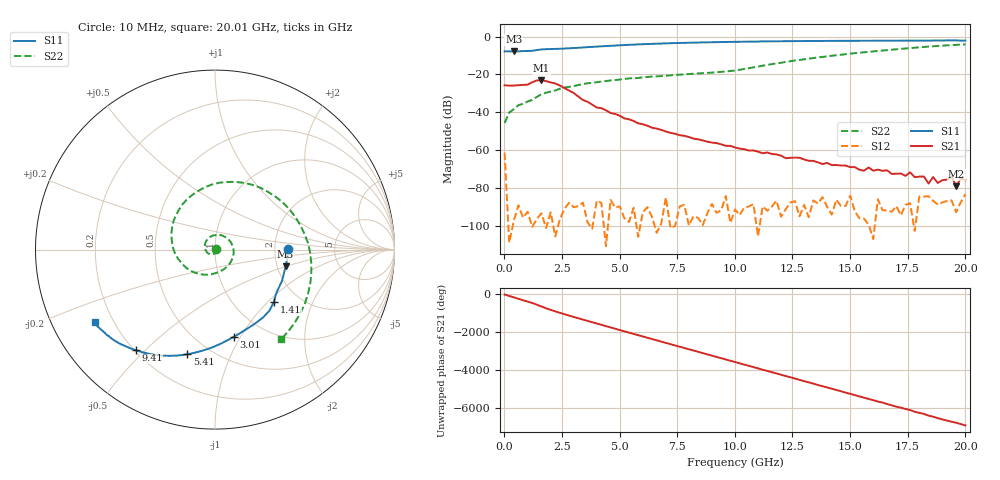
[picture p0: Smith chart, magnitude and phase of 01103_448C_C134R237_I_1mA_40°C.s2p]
!;Filter: kein Filter
!auto
!3/21/2019 9:26:39 AM
!3/21/2019 9:26:51 AM
!SP-Measurements Prober G4
!SP-Measurements Prober G4
!01103_448C
!134
!237
!12
!40
!-20
!0.00099996
!1.65
!0.05816927
!0.05816927
# Hz S  RI  R 50
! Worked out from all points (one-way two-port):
!   101 points, 10 MHz to 20.01 GHz, reference 50 ohm
!   highest |S21| = -23.12 dB at 1.61 GHz (marker M1); lowest = -79.0 dB at 19.61 GHz (marker M2)
!   lowest |S11| = -7.9 dB at 410 MHz (marker M3), VSWR 2.36, Z = 111 - j24.8 ohm
!   |S11| at or under -10 dB: nowhere
!   |S22| runs from -45.7 to -4.1 dB; largest |S21 - S12| = 0.07
!   S11 on the Smith chart (normalised r, x): 10 MHz: 2.36, +0.03; 1.41 GHz: 1.50, -1.09; 3.01 GHz: 0.73, -0.94; 5.41 GHz: 0.38, -0.70; 9.41 GHz: 0.20, -0.47; 20.01 GHz: 0.13, -0.27
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1e7  0.4047 0.00506  0.0473 -0.0206  -0.0005 -0.000694  0.00513 0.000871
2.1e8  0.4026 -0.0499  -0.00711 -0.05  -3.57e-06 5.79e-07  0.00859 -0.00482
4.1e8  0.3931 -0.0935  -0.0503 -0.007  -4e-06 1.32e-05  0.00995 -0.00692
1.41e9  0.3279 -0.2926  -0.0666 0.0195  -1.02e-05 -1.15e-05  -0.00725 -0.0244
1.61e9  0.3038 -0.3397  0.0251 0.0651  -2.06e-05 -6.09e-06  -0.0137 -0.0268
3.01e9  0.1057 -0.4853  -0.0159 -0.0281  2.21e-05 2.19e-05  -0.0484 -0.00871
3.41e9  0.0597 -0.5104  -0.00392 0.0207  4.12e-05 1.44e-06  -0.0553 0.00481
5.41e9  -0.1545 -0.5831  -0.005 0.00418  -9.52e-06 8.38e-06  -0.0171 0.0765
6.81e9  -0.2774 -0.5912  0.00308 0.00152  4.34e-06 -1.07e-05  0.0584 0.0688
9.41e9  -0.4424 -0.5603  -0.000792 -0.00119  2.29e-05 1.24e-05  0.0657 -0.0964
1.001e10  -0.4707 -0.5502  0.000962 0.000681  8.89e-06 -2.56e-05  0.0185 -0.1254
1.341e10  -0.5837 -0.4895  0.000502 -0.000139  -2.06e-05 -4.23e-05  -0.2386 0.1265
1.541e10  -0.6222 -0.4574  0.000258 0.000161  3.31e-06 1.56e-05  0.0252 0.3727
1.681e10  -0.6408 -0.4408  5.89e-05 -0.000229  -1.53e-06 2.36e-05  0.3376 0.2945
1.761e10  -0.6506 -0.4305  0.000207 0.000156  -3.83e-05 -1.13e-05  0.4754 0.1358
1.841e10  -0.6608 -0.4205  -2.8e-05 0.000129  -5.92e-05 -1.35e-05  0.5365 -0.0748
1.861e10  -0.6637 -0.4181  0.000132 0.000143  -1.02e-05 -4.49e-05  0.5368 -0.131
1.881e10  -0.6661 -0.4154  0.00012 -6.48e-05  1.73e-05 -3.25e-05  0.531 -0.1874
1.941e10  -0.6726 -0.4087  -0.000164 0.000115  1.1e-05 4.58e-05  0.4753 -0.3547
1.961e10  -0.6733 -0.4058  2.2e-07 0.000112  2.21e-05 6.39e-06  0.4447 -0.4063
1.981e10  -0.6724 -0.4024  0.000168 6.2e-05  1.19e-05 -4.05e-05  0.41 -0.4534
2.001e10  -0.671 -0.4015  9.99e-05 -0.000128  6.24e-05 -2.9e-05  0.3683 -0.4996
